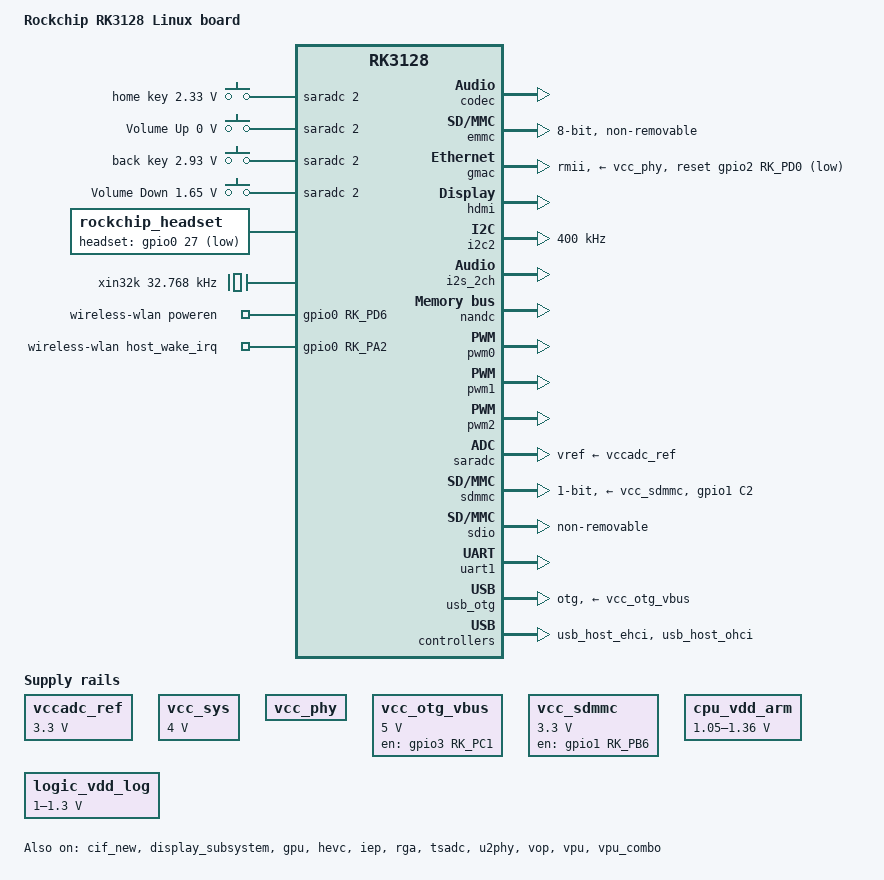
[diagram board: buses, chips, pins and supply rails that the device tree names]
// SPDX-License-Identifier: (GPL-2.0+ OR MIT)
/*
 * Copyright (c) 2019 Fuzhou Rockchip Electronics Co., Ltd
 */

/dts-v1/;
#include <dt-bindings/gpio/gpio.h>
#include <dt-bindings/input/input.h>
#include <dt-bindings/pinctrl/rockchip.h>
#include <dt-bindings/pwm/pwm.h>
#include <dt-bindings/sensor-dev.h>
#include "rk3128.dtsi"
#include "rk312x-android.dtsi"

/ {
	model = "Rockchip RK3128 Linux board";
	compatible = "rockchip,rk3128";

	chosen {
		stdout-path = "serial1:115200n8";
	};

	fiq-debugger {
		status = "disabled";
	};

	adc-keys {
		compatible = "adc-keys";
		io-channels = <&saradc 2>;
		io-channel-names = "buttons";
		poll-interval = <100>;
		keyup-threshold-microvolt = <3300000>;

		home-key{
			label = "home key";
			linux,code = <KEY_HOMEPAGE>;
			press-threshold-microvolt = <2330000>;
		};

		button-up {
			label = "Volume Up";
			linux,code = <KEY_VOLUMEUP>;
			press-threshold-microvolt = <0>;
		};

		back-key{
			label = "back key";
			linux,code = <KEY_BACK>;
			press-threshold-microvolt = <2930000>;
		};
		button-down {
			label = "Volume Down";
			linux,code = <KEY_VOLUMEDOWN>;
			press-threshold-microvolt = <1650000>;
		};
	};

	rockchip_headset {
		compatible = "rockchip_headset";
		headset_gpio = <&gpio0 27 GPIO_ACTIVE_LOW>;
	};

	sound {
		compatible = "simple-audio-card";
		simple-audio-card,format = "i2s";
		simple-audio-card,mclk-fs = <256>;
		simple-audio-card,name = "rockchip,rk312x";
		simple-audio-card,cpu {
			sound-dai = <&i2s_2ch>;
		};
		simple-audio-card,codec {
			sound-dai = <&codec>;
		};
	};

	vccadc_ref: vccadc-ref {
		compatible = "regulator-fixed";
		regulator-name = "SARADC_AVDD33";
		regulator-always-on;
		regulator-boot-on;
		regulator-min-microvolt = <3300000>;
		regulator-max-microvolt = <3300000>;
	};

	vcc_sys: vcc-sys {
		compatible = "regulator-fixed";
		regulator-name = "vcc_sys";
		regulator-min-microvolt = <4000000>;
		regulator-max-microvolt = <4000000>;
		regulator-always-on;
	};

	vcc_phy: vcc-phy-regulator {
		compatible = "regulator-fixed";
		regulator-name = "vcc_phy";
		regulator-always-on;
		regulator-boot-on;
	};

	vcc_otg_vbus: otg-vbus-regulator {
		compatible = "regulator-fixed";
		regulator-name = "vcc_otg_vbus";
		regulator-min-microvolt = <5000000>;
		regulator-max-microvolt = <5000000>;
		enable-active-high;
		gpio = <&gpio3 RK_PC1 GPIO_ACTIVE_HIGH>;
		pinctrl-names = "default";
		pinctrl-0 = <&otg_vbus_drv>;
	};

	vcc_sdmmc: vcc-sdmmc {
		compatible = "regulator-fixed";
		gpio = <&gpio1 RK_PB6 GPIO_ACTIVE_HIGH>;
		enable-active-high;
		pinctrl-names = "default";
		pinctrl-0 = <&sdmmc_pwren>;
		regulator-name = "vcc_sdmmc";
		regulator-min-microvolt = <3300000>;
		regulator-max-microvolt = <3300000>;
		regulator-boot-on;
	};

	/*
	 * This board follows the RK322x-style power tree for the CPU/GPU
	 * rails: both are driven directly from PWM regulators, not an RK816.
	 */
	cpu_vdd_arm: vdd-arm-regulator {
		compatible = "pwm-regulator";
		rockchip,pwm_id = <1>;
		regulator-init-microvolt = <1200000>;
		regulator-early-min-microvolt = <1200000>;
		pwms = <&pwm1 0 25000 1>;
		regulator-name = "vdd_arm";
		regulator-min-microvolt = <1050000>;
		regulator-max-microvolt = <1360000>;
		regulator-ramp-delay = <12500>;
		regulator-settling-time-up-us = <250>;
		regulator-always-on;
		regulator-boot-on;
	};

	logic_vdd_log: vdd-log-regulator {
		compatible = "pwm-regulator";
		rockchip,pwm_id = <2>;
		rockchip,pwm_voltage = <1200000>;
		pwms = <&pwm2 0 25000 1>;
		regulator-name = "vdd_log";
		regulator-min-microvolt = <1000000>;
		regulator-max-microvolt = <1300000>;
		regulator-ramp-delay = <12500>;
		regulator-settling-time-up-us = <250>;
		regulator-always-on;
		regulator-boot-on;
	};
	
	xin32k: xin32k {
		compatible = "fixed-clock";
		clock-frequency = <32768>;
		clock-output-names = "xin32k";
		#clock-cells = <0>;
	};

	wireless-wlan {
		compatible = "wlan-platdata";
		rockchip,grf = <&grf>;
		wifi_chip_type = "esp8089";
		sdio_vref = <0>;
		WIFI,poweren_gpio = <&gpio0 RK_PD6 GPIO_ACTIVE_HIGH>;
		WIFI,host_wake_irq = <&gpio0 RK_PA2 GPIO_ACTIVE_HIGH>;
		status = "okay";
	};

	wireless-bluetooth {
		compatible = "bluetooth-platdata";

		uart_rts_gpios = <&gpio1 11 GPIO_ACTIVE_LOW>; /* GPIO1_B3 */
		pinctrl-names = "default","rts_gpio";
		pinctrl-0 = <&uart1_rts>;
		pinctrl-1 = <&uart1_rts_gpio>;
		BT,reset_gpio = <&gpio0 1 GPIO_ACTIVE_HIGH>; /* GPIO2_B1 */
		status = "disabled";
	};

};

&codec {
	#sound-dai-cells = <0>;
	spk-ctl-gpios = <&gpio2 9 GPIO_ACTIVE_HIGH>;
	spk-mute-delay = <200>;
	hp-mute-delay = <100>;
	is_rk3128 = <1>;
	spk_volume = <25>;
	hp_volume = <25>;
	capture_volume = <26>;
	gpio_debug = <1>;
	codec_hp_det = <0>;
	status = "okay";
};

&cpu0 {
	cpu-supply = <&cpu_vdd_arm>;
	clock-frequency = <1200000000>;
};

&cpu1 {
	clock-frequency = <1200000000>;
};

&cpu2 {
	clock-frequency = <1200000000>;
};

&cpu3 {
	clock-frequency = <1200000000>;
};

/*
 * Keep the RK3128 board's CPU DVFS table local to this DTS so the
 * frequencies and voltages stay aligned with the board's PWM CPU rail.
 * Keep this board on fixed, non-binned voltages and keep the low
 * frequency states above the RK3128 datasheet minimum.
 */
&cpu0_opp_table {
	/delete-property/ rockchip,leakage-scaling-sel;
	/delete-property/ rockchip,leakage-voltage-sel;

	/delete-node/ opp-696000000;

	opp-216000000 {
		opp-microvolt = <1050000 1050000 1360000>;
		opp-microvolt-L0 = <1050000 1050000 1360000>;
		opp-microvolt-L1 = <1050000 1050000 1360000>;
		opp-microvolt-L2 = <1050000 1050000 1360000>;
	};

	opp-408000000 {
		opp-microvolt = <1050000 1050000 1360000>;
		opp-microvolt-L0 = <1050000 1050000 1360000>;
		opp-microvolt-L1 = <1050000 1050000 1360000>;
		opp-microvolt-L2 = <1050000 1050000 1360000>;
	};

	opp-600000000 {
		opp-microvolt = <1100000 1100000 1360000>;
		opp-microvolt-L0 = <1100000 1100000 1360000>;
		opp-microvolt-L1 = <1100000 1100000 1360000>;
		opp-microvolt-L2 = <1100000 1100000 1360000>;
	};

	opp-816000000 {
		opp-microvolt = <1200000 1200000 1360000>;
		opp-microvolt-L0 = <1200000 1200000 1360000>;
		opp-microvolt-L1 = <1200000 1200000 1360000>;
		opp-microvolt-L2 = <1200000 1200000 1360000>;
	};

	opp-1008000000 {
		opp-microvolt = <1200000 1200000 1360000>;
		opp-microvolt-L0 = <1200000 1200000 1360000>;
		opp-microvolt-L1 = <1200000 1200000 1360000>;
		opp-microvolt-L2 = <1200000 1200000 1360000>;
	};

	opp-1200000000 {
		opp-microvolt = <1350000 1350000 1360000>;
		opp-microvolt-L0 = <1350000 1350000 1360000>;
		opp-microvolt-L1 = <1350000 1350000 1360000>;
		opp-microvolt-L2 = <1350000 1350000 1360000>;
	};
};

/*
 * Avoid fixed CMA address from rk312x-android.dtsi which can overlap initrd
 * (seen as bad_page during free_initrd). Let kernel place CMA dynamically.
 */
&cma_region {
	/delete-property/ reg;
	size = <0x02000000>;
	alignment = <0x2000>;
	linux,cma-default;
};

&cif_new {
	status = "okay";

	ports {
		port@0 {
			cif_in_fcam: endpoint@0 {
				remote-endpoint =  <&gc0312_out>;
				vsync-active = <1>;
				hsync-active = <1>;
			};

			cif_in_bcam: endpoint@1 {
				remote-endpoint = <&gc2145_out>;
				vsync-active = <0>;
				hsync-active = <1>;
			};
		};
	};
};

&display_subsystem {
	status = "okay";

	route {
		route_hdmi: route-hdmi {
			status = "okay";
			logo,uboot = "logo.bmp";
			logo,kernel = "logo_kernel.bmp";
			logo,mode = "center";
			charge_logo,mode = "center";
			connect = <&vop_out_hdmi>;
		};
	};
};

&dmc {
	center-supply = <&logic_vdd_log>;
};

&emmc {
	bus-width = <8>;
	cap-mmc-highspeed;
	supports-emmc;
	disable-wp;
	non-removable;
	num-slots = <1>;
	status = "okay";
};

&gmac {
	assigned-clocks = <&cru SCLK_MAC_SRC>;
	assigned-clock-rates = <50000000>;
	clock_in_out = "output";
	pinctrl-names = "default";
	pinctrl-0 = <&rmii_pins>;
	phy-supply = <&vcc_phy>;
	phy-mode = "rmii";
	snps,reset-active-low;
	snps,reset-delays-us = <0 10000 50000>;
	snps,reset-gpio = <&gpio2 RK_PD0 GPIO_ACTIVE_LOW>;
	status = "okay";
};


&gpu {
	status = "okay";
	mali-supply = <&logic_vdd_log>;
};

&hdmi {
	#sound-dai-cells = <0>;
	status = "okay";
};

&hevc {
	status = "okay";
};

&hevc_mmu {
	status = "okay";
};

&i2c2 {
	status = "okay";
	clock-frequency = <400000>;

	gc0312@21 {
		status = "disabled";
		compatible = "galaxycore,gc0312";
		reg = <0x21>;

		clocks = <&cru SCLK_CIF_OUT>;
		clock-names = "xvclk";

		avdd-supply = <&vcc28_cif>;
		dovdd-supply = <&vcc18_cif>;
		dvdd-supply = <&vcc18_cif>;

		pwdn-gpios = <&gpio3 RK_PB3 GPIO_ACTIVE_HIGH>;
		pwndpmu-supply = <&ldo4>;
		port {
			gc0312_out: endpoint {
				remote-endpoint = <&cif_in_fcam>;
			};
		};
	};

	gc2145@3c {
		status = "disabled";
		compatible = "galaxycore,gc2145";
		reg = <0x3c>;

		clocks = <&cru SCLK_CIF_OUT>;
		clock-names = "xvclk";

		avdd-supply = <&vcc28_cif>;
		dovdd-supply = <&vcc18_cif>;
		dvdd-supply = <&vcc18_cif>;

		port {
			gc2145_out: endpoint {
				remote-endpoint = <&cif_in_bcam>;
			};
		};
	};

	ts@40 {
		compatible = "gslX680-d708";
		reg = <0x40>;
		touch-gpio = <&gpio0 2 IRQ_TYPE_LEVEL_HIGH>;
		screen_max_x = <800>;
		screen_max_y = <480>;
		revert_x = <1>;
		status = "disabled";
	};
	sensor7660@1d {
		compatible = "gs_sc7660";
		reg = <0x1d>;
		type = <SENSOR_TYPE_ACCEL>;
		irq_enable = <0>;
		poll_delay_ms = <30>;
		layout = <7>;
		revert_x = <0>;
		revert_y = <0>;
		revert_z = <0>;
		status = "disabled";
	};

	sensor7a20@19 {
		compatible = "gs_sc7a20";
		reg = <0x19>;
		type = <SENSOR_TYPE_ACCEL>;
		irq_enable = <0>;
		poll_delay_ms = <30>;
		layout = <7>;
		revert_x = <0>;
		revert_y = <0>;
		revert_z = <0>;
		status = "disabled";
	};

	rk816: pmic@1a {
		compatible = "rockchip,rk816";
		reg = <0x1a>;
		status = "disabled";
		interrupt-parent = <&gpio0>;
		interrupts = <0 IRQ_TYPE_LEVEL_LOW>;
		pinctrl-names = "default";
		pinctrl-0 = <&pmic_int_l>;
		rockchip,system-power-controller;
		wakeup-source;
		gpio-controller;
		#gpio-cells = <2>;
		#clock-cells = <1>;
		clock-output-names = "rk816-clkout1", "rk816-clkout2";
		extcon = <&u2phy>;

		vcc1-supply = <&vcc_sys>;
		vcc2-supply = <&vcc_sys>;
		vcc3-supply = <&vcc_sys>;
		vcc4-supply = <&vcc_sys>;
		vcc5-supply = <&vcc_io>;
		vcc6-supply = <&vcc_sys>;

		gpio {
			status = "okay";
		};

		pwrkey {
			status = "okay";
		};

		rtc {
			status = "okay";
		};

		battery {
			compatible = "rk816-battery";
			ocv_table = < 3500 3625 3685 3697 3718 3735 3748
					3760 3774 3788 3802 3816 3834 3853
					3877 3908 3946 3975 4018 4071 4106>;
			design_capacity = <2500>;
			design_qmax = <2750>;
			bat_res = <100>;
			max_input_current = <1500>;
			max_chrg_current = <1300>;
			max_chrg_voltage = <4200>;
			sleep_enter_current = <300>;
			sleep_exit_current = <300>;
			sleep_filter_current = <100>;
			power_off_thresd = <3500>;
			zero_algorithm_vol = <3850>;
			max_soc_offset = <60>;
			monitor_sec = <5>;
			virtual_power = <0>;
			power_dc2otg = <0>;
			dc_det_adc = <0>;
		};

		regulators {

			vdd_arm: DCDC_REG1{
				regulator-name= "vdd_arm";
				regulator-min-microvolt = <750000>;
				regulator-max-microvolt = <1500000>;
				regulator-ramp-delay = <6001>;
				regulator-initial-mode = <1>;
				regulator-always-on;
				regulator-boot-on;
				regulator-state-mem {
					regulator-off-in-suspend;
					regulator-suspend-microvolt = <900000>;
				};
			};

			vdd_log: DCDC_REG2 {
				regulator-name= "vdd_logic";
				regulator-min-microvolt = <750000>;
				regulator-max-microvolt = <1500000>;
				regulator-ramp-delay = <6001>;
				regulator-initial-mode = <1>;
				regulator-always-on;
				regulator-boot-on;
				regulator-state-mem {
					regulator-on-in-suspend;
					regulator-suspend-microvolt = <1000000>;
				};
			};

			vcc_ddr: DCDC_REG3 {
				regulator-name = "vcc_ddr";
				regulator-always-on;
				regulator-boot-on;
				regulator-initial-mode = <1>;
			};

			vcc_io: DCDC_REG4 {
				regulator-name = "vcc_io";
				regulator-min-microvolt = <3300000>;
				regulator-max-microvolt = <3300000>;
				regulator-initial-mode = <1>;
				regulator-always-on;
				regulator-boot-on;
				regulator-state-mem {
					regulator-on-in-suspend;
					regulator-suspend-microvolt = <3000000>;
				};
			};

			vcc28_cif: LDO_REG1 {
				regulator-name = "vcc28_cif";
				regulator-min-microvolt = <2800000>;
				regulator-max-microvolt = <2800000>;
				regulator-always-on;
				regulator-boot-on;
				regulator-state-mem {
					regulator-off-in-suspend;
				};
			};

			vcc18_cif: LDO_REG2 {
				regulator-name = "vcc18_cif";
				regulator-min-microvolt = <1800000>;
				regulator-max-microvolt = <1800000>;
				regulator-always-on;
				regulator-boot-on;
				regulator-state-mem {
					regulator-off-in-suspend;
				};
			};

			vdd_11: LDO_REG3 {
				regulator-name = "vdd_11";
				regulator-min-microvolt = <1100000>;
				regulator-max-microvolt = <1100000>;
				regulator-always-on;
				regulator-boot-on;
				regulator-state-mem {
					regulator-on-in-suspend;
					regulator-suspend-microvolt = <1100000>;
				};
			};

			ldo4: LDO_REG4 {
				regulator-name= "ldo4";
				regulator-min-microvolt = <3000000>;
				regulator-max-microvolt = <3000000>;
				regulator-state-mem {
					regulator-off-in-suspend;
				};
			};

			ldo5: LDO_REG5 {
				regulator-name= "ldo5";
				regulator-min-microvolt = <3000000>;
				regulator-max-microvolt = <3000000>;
				regulator-always-on;
				regulator-boot-on;
				regulator-state-mem {
					regulator-on-in-suspend;
				};
			};

			ldo6: LDO_REG6 {
				regulator-name= "ldo6";
				regulator-min-microvolt = <3300000>;
				regulator-max-microvolt = <3300000>;
				regulator-state-mem {
					regulator-on-in-suspend;
					regulator-suspend-microvolt = <3300000>;
				};
			};
		};
	};
};

&i2s_2ch {
	#sound-dai-cells = <0>;
	status = "okay";
};

&iep {
	status = "okay";
};

&iep_mmu {
	status = "okay";
};

&nandc {
	status = "okay";
};

&pinctrl {
	sdmmc-diag {
		sdmmc_bus1_diag: sdmmc-bus1-diag {
			rockchip,pins = <1 RK_PC2 1 &pcfg_pull_default>;
		};
	};

	pmic {
		pmic_int_l: pmic-int-l {
			rockchip,pins =
				<RK_GPIO0 RK_PA0 RK_FUNC_GPIO &pcfg_pull_default>;
		};
	};

	usb {
		otg_vbus_drv: otg-vbus-drv {
			rockchip,pins =
				<RK_GPIO3 RK_PC1 RK_FUNC_GPIO &pcfg_pull_none>;
		};
	};

	wireless-bluetooth {
		uart1_rts_gpio: uart1-rts-gpio {
			rockchip,pins = <RK_GPIO1 RK_PB3 RK_FUNC_GPIO &pcfg_pull_none>;
		};
	};

};

&pwm0 {
	status = "okay";
};

&pwm1 {
	status = "okay";
};

&pwm2 {
	status = "okay";
};

&rga {
	status = "okay";
};

&saradc {
	status = "okay";
	vref-supply = <&vccadc_ref>;
};

&sdmmc {
	/delete-property/ dmas;
	/delete-property/ dma-names;
	cap-mmc-highspeed;
	cap-sd-highspeed;
	supports-sd;
	vmmc-supply = <&vcc_sdmmc>;
	bus-width = <1>;
	broken-cd;
	card-detect-delay = <800>;
	disable-wp;
	ignore-pm-notify;
	keep-power-in-suspend;
	pinctrl-0 = <&sdmmc_clk &sdmmc_cmd &sdmmc_bus1_diag>;
	status = "okay";
};

&sdio {
	/delete-property/ dmas;
	/delete-property/ dma-names;
	max-frequency = <37500000>;
	cap-sd-highspeed;
	cap-sdio-irq;
	supports-sdio;
	disable-wp;
	ignore-pm-notify;
	keep-power-in-suspend;
	pinctrl-names = "default";
	pinctrl-0 = <&sdio_cmd &sdio_clk &sdio_bus4>;
	non-removable;
	/* vmmc-supply = <&ldo5>; */
	status = "okay";
};

&tsadc {
	status = "okay";
};

&rockchip_system_monitor {
	rockchip,thermal-zone = "soc-thermal";
};

&u2phy {
	status = "okay";

	u2phy_otg: otg-port {
		vbus-supply = <&vcc_otg_vbus>;
		status = "okay";
	};

	u2phy_host: host-port {
		status = "okay";
	};
};

&uart1 {
	pinctrl-names = "default";
	pinctrl-0 = <&uart1_xfer &uart1_cts>;
	status = "okay";
};

&usb_otg {
	dr_mode = "otg";
	vbus-supply = <&vcc_otg_vbus>;
	status = "okay";
};

&usb_host_ehci {
	status = "okay";
};

&usb_host_ohci {
	status = "okay";
};

&vop {
	rockchip,grf = <&grf>;
	status = "okay";
};

&vop_mmu {
	status = "okay";
};

&vpu {
	status = "okay";
};

&vpu_combo {
	status = "okay";
};

&vpu_mmu {
	status = "okay";
};
